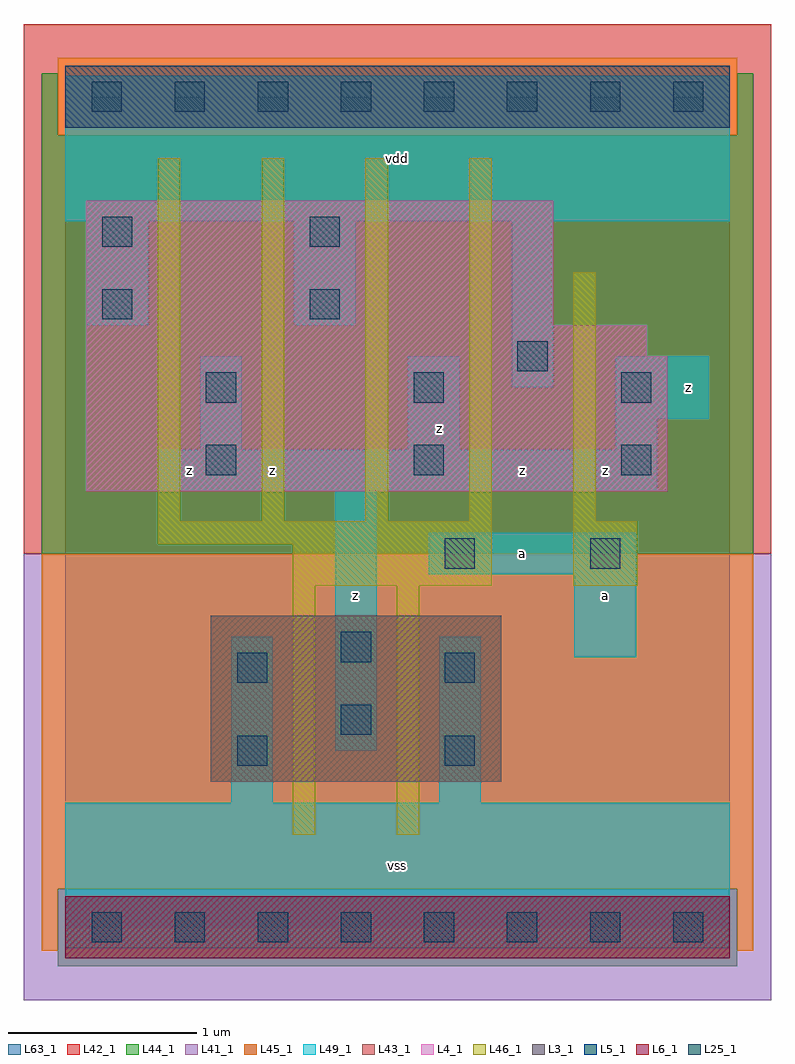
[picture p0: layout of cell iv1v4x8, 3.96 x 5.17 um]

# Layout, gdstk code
import gdstk
lib = gdstk.Library(unit=1e-6, precision=1e-09)
def R(c, l, rs):  # rectangles x0, y0, x1, y1
    for r in rs: c.add(gdstk.rectangle(r[:2], r[2:], *l))
def A(c, l, x, y, w, h, nx, ny, dx, dy):  # array of equal rectangles
    R(c, l, [(x+i*dx, y+j*dy, x+i*dx+w, y+j*dy+h) for i in range(nx) for j in range(ny)])
L3_1 = (3, 1)
L4_1 = (4, 1)
L5_1 = (5, 1)
L6_1 = (6, 1)
L25_1 = (25, 1)
L41_1 = (41, 1)
L42_1 = (42, 1)
L43_1 = (43, 1)
L44_1 = (44, 1)
L45_1 = (45, 1)
L46_1 = (46, 1)
L49_1 = (49, 1)
L63_1 = (63, 1)

iv1v4x8 = lib.new_cell('iv1v4x8')
R(iv1v4x8, L3_1, [(0.77,0.77,2.31,1.65)])
R(iv1v4x8, L4_1, [(0.11,2.31,3.19,3.025), (0.11,3.025,3.08,3.19), (0.11,3.19,2.585,3.85)])
R(iv1v4x8, L5_1, [(0,4.235,3.52,4.565)])
R(iv1v4x8, L6_1, [(0,-0.165,3.52,0.165)])
A(iv1v4x8, L25_1, 0.14, -0.08, 0.16, 0.16, 8, 2, 0.44, 4.4)
A(iv1v4x8, L25_1, 0.745, 2.395, 0.16, 0.16, 3, 2, 1.1, 0.385)
R(iv1v4x8, L25_1, [(0.91,0.855,1.07,1.015), (2.01,0.855,2.17,1.015), (1.46,1.02,1.62,1.18), (0.91,1.295,1.07,1.455), (2.01,1.295,2.17,1.455), (1.46,1.405,1.62,1.565), (2.01,1.9,2.17,2.06), (2.78,1.9,2.94,2.06), (2.395,2.945,2.555,3.105), (0.195,3.22,0.355,3.38), (1.295,3.22,1.455,3.38), (0.195,3.605,0.355,3.765), (1.295,3.605,1.455,3.765)])
R(iv1v4x8, L41_1, [(-0.22,-0.385,3.74,1.98)])
R(iv1v4x8, L42_1, [(-0.22,1.98,3.74,4.785)])
R(iv1v4x8, L43_1, [(0,-0.165,3.52,0.165), (0.77,0.77,2.31,1.65), (0.11,2.31,3.19,3.025), (0.11,3.025,3.08,3.19), (0.11,3.19,2.585,3.85), (0,4.235,3.52,4.565)])
R(iv1v4x8, L44_1, [(-0.04,-0.205,3.56,0.205), (-0.125,1.98,3.645,4.195), (-0.125,4.195,-0.04,4.525), (3.56,4.195,3.645,4.525)])
R(iv1v4x8, L45_1, [(-0.125,-0.125,-0.04,0.205), (3.56,-0.125,3.645,0.205), (-0.125,0.205,3.645,1.98), (-0.04,4.195,3.56,4.605)])
A(iv1v4x8, L46_1, 0.49, 2.15, 0.12, 1.925, 4, 1, 0.55, 0)
R(iv1v4x8, L46_1, [(1.205,0.49,1.325,1.81), (1.755,0.49,1.875,1.81), (1.205,1.81,2.26,2.03), (2.69,1.81,3.03,2.15), (0.49,2.03,2.26,2.15), (2.69,2.15,2.81,3.47)])
R(iv1v4x8, L49_1, [(0,-0.11,3.52,0.66), (0.88,0.66,1.1,1.54), (1.98,0.66,2.2,1.54), (1.43,0.935,1.65,2.31), (2.695,1.43,3.025,1.87), (1.925,1.87,3.025,2.09), (0.495,2.31,3.135,2.53), (0.715,2.53,0.935,3.025), (1.815,2.53,2.09,3.025), (2.915,2.53,3.135,2.695), (2.915,2.695,3.41,3.025), (2.365,2.86,2.585,3.74), (0.11,3.19,0.44,3.74), (1.21,3.19,1.54,3.74), (0,3.74,3.52,4.51)])
R(iv1v4x8, L63_1, [(0,0,3.52,4.4)])
iv1v4x8.add(gdstk.Label('z', (0.66,2.42), layer=49, texttype=1))
iv1v4x8.add(gdstk.Label('z', (1.54,1.76), layer=49, texttype=1))
iv1v4x8.add(gdstk.Label('z', (1.1,2.42), layer=49, texttype=1))
iv1v4x8.add(gdstk.Label('vss', (1.76,0.33), layer=49, texttype=1))
iv1v4x8.add(gdstk.Label('a', (2.42,1.98), layer=49, texttype=1))
iv1v4x8.add(gdstk.Label('z', (2.42,2.42), layer=49, texttype=1))
iv1v4x8.add(gdstk.Label('z', (1.98,2.64), layer=49, texttype=1))
iv1v4x8.add(gdstk.Label('vdd', (1.76,4.07), layer=49, texttype=1))
iv1v4x8.add(gdstk.Label('a', (2.86,1.76), layer=49, texttype=1))
iv1v4x8.add(gdstk.Label('z', (2.86,2.42), layer=49, texttype=1))
iv1v4x8.add(gdstk.Label('z', (3.3,2.86), layer=49, texttype=1))

lib.write_gds('iv1v4x8.gds')
